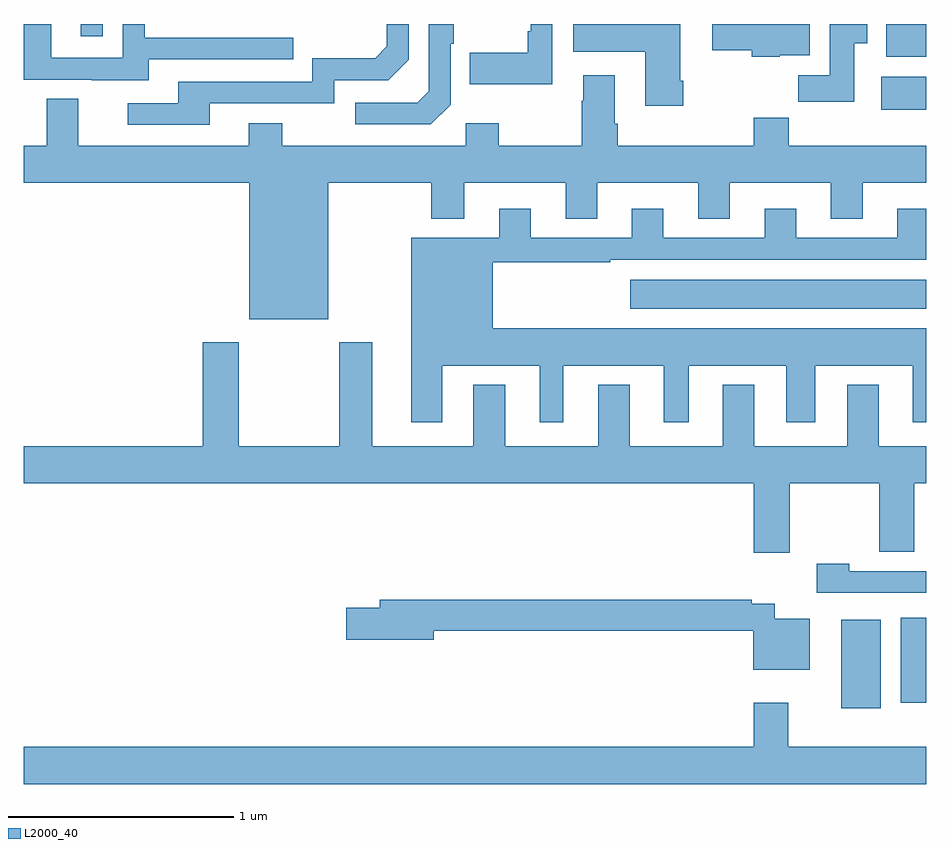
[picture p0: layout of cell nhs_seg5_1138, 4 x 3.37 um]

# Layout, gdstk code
import gdstk
lib = gdstk.Library(unit=1e-6, precision=1e-09)
def R(c, l, rs):  # rectangles x0, y0, x1, y1
    for r in rs: c.add(gdstk.rectangle(r[:2], r[2:], *l))
def P(c, l, *ps):  # polygons
    for p in ps: c.add(gdstk.Polygon(p, *l))
L2000_40 = (2000, 40)

nhs_seg5_1138 = lib.new_cell('nhs_seg5_1138')
R(nhs_seg5_1138, L2000_40, [(184.622,851.768,184.798,852.16), (184.886,851.793,185,852.169), (183.687,853.538,185,853.666), (184.799,854.42,185,854.566), (184.823,854.654,185,854.799), (181.253,854.745,181.35,854.799)])
P(nhs_seg5_1138, L2000_40, [(183.923,854.548),(183.91,854.548),(183.91,854.799),(183.659,854.799),(183.659,854.797),(183.435,854.797),(183.435,854.675),(183.755,854.675),(183.755,854.436),(183.923,854.436)],
  [(182.892,854.442),(182.892,854.711),(182.905,854.711),(182.905,854.799),(182.796,854.799),(182.796,854.502),(182.745,854.451),(182.469,854.451),(182.469,854.355),(182.805,854.355)],
  [(184.35,854.66),(184.483,854.66),(184.483,854.799),(184.05,854.799),(184.05,854.683),(184.225,854.683),(184.225,854.654),(184.35,854.654)],
  [(181.825,854.448),(182.376,854.448),(182.376,854.55),(182.616,854.55),(182.706,854.64),(182.706,854.799),(182.61,854.799),(182.61,854.7),(182.557,854.647),(182.28,854.647),(182.28,854.544),(181.685,854.544),(181.685,854.448),(181.461,854.448),(181.461,854.352),(181.825,854.352)],
  [(181.555,854.643),(182.195,854.643),(182.195,854.739),(181.536,854.739),(181.536,854.799),(181.44,854.799),(181.44,854.649),(181.122,854.649),(181.122,854.799),(181,854.799),(181,854.553),(181.301,854.553),(181.301,854.549),(181.555,854.549)],
  [(183.342,854.799),(183.246,854.799),(183.246,854.767),(183.234,854.767),(183.234,854.671),(182.977,854.671),(182.977,854.531),(183.342,854.531)],
  [(184.681,854.713),(184.738,854.713),(184.738,854.799),(184.571,854.799),(184.571,854.572),(184.432,854.572),(184.432,854.454),(184.681,854.454)],
  [(182.35,854.096),(182.806,854.096),(182.806,853.937),(182.953,853.937),(182.953,854.096),(183.401,854.096),(183.401,853.936),(183.541,853.936),(183.541,854.096),(183.989,854.096),(183.989,853.936),(184.129,853.936),(184.129,854.096),(184.577,854.096),(184.577,853.936),(184.717,853.936),(184.717,854.096),(185,854.096),(185,854.26),(184.391,854.26),(184.391,854.384),(184.235,854.384),(184.235,854.26),(183.632,854.26),(183.632,854.356),(183.619,854.356),(183.619,854.572),(183.479,854.572),(183.479,854.459),(183.472,854.459),(183.472,854.26),(183.105,854.26),(183.105,854.359),(182.958,854.359),(182.958,854.26),(182.145,854.26),(182.145,854.359),(181.997,854.359),(181.997,854.26),(181.243,854.26),(181.243,854.468),(181.103,854.468),(181.103,854.26),(181,854.26),(181,854.096),(182,854.096),(182,853.49),(182.35,853.49)],
  [(182.854,853.286),(183.287,853.286),(183.287,853.035),(183.391,853.035),(183.391,853.286),(183.836,853.286),(183.836,853.035),(183.946,853.035),(183.946,853.286),(184.379,853.286),(184.379,853.035),(184.507,853.035),(184.507,853.286),(184.94,853.286),(184.94,853.035),(185,853.035),(185,853.45),(183.079,853.45),(183.079,853.743),(183.599,853.743),(183.599,853.755),(185,853.755),(185,853.981),(184.871,853.981),(184.871,853.851),(184.423,853.851),(184.423,853.981),(184.283,853.981),(184.283,853.851),(183.835,853.851),(183.835,853.981),(183.695,853.981),(183.695,853.851),(183.247,853.851),(183.247,853.981),(183.107,853.981),(183.107,853.852),(182.717,853.852),(182.717,853.035),(182.854,853.035)],
  [(184.395,852.764),(184.792,852.764),(184.792,852.46),(184.946,852.46),(184.946,852.764),(185,852.764),(185,852.928),(184.789,852.928),(184.789,853.201),(184.649,853.201),(184.649,852.928),(184.237,852.928),(184.237,853.201),(184.097,853.201),(184.097,852.928),(183.685,852.928),(183.685,853.201),(183.545,853.201),(183.545,852.928),(183.133,852.928),(183.133,853.201),(182.993,853.201),(182.993,852.928),(182.545,852.928),(182.545,853.39),(182.398,853.39),(182.398,852.928),(181.953,852.928),(181.953,853.39),(181.793,853.39),(181.793,852.928),(181,852.928),(181,852.764),(184.235,852.764),(184.235,852.456),(184.395,852.456)],
  [(185,852.375),(184.659,852.375),(184.659,852.408),(184.515,852.408),(184.515,852.279),(185,852.279)],
  [(184.483,852.163),(184.329,852.163),(184.329,852.231),(184.226,852.231),(184.226,852.248),(182.579,852.248),(182.579,852.212),(182.43,852.212),(182.43,852.07),(182.818,852.07),(182.818,852.112),(184.233,852.112),(184.233,851.939),(184.483,851.939)],
  [(185,851.596),(184.387,851.596),(184.387,851.791),(184.235,851.791),(184.235,851.596),(181,851.596),(181,851.432),(185,851.432)])

lib.write_gds('nhs_seg5_1138.gds')
